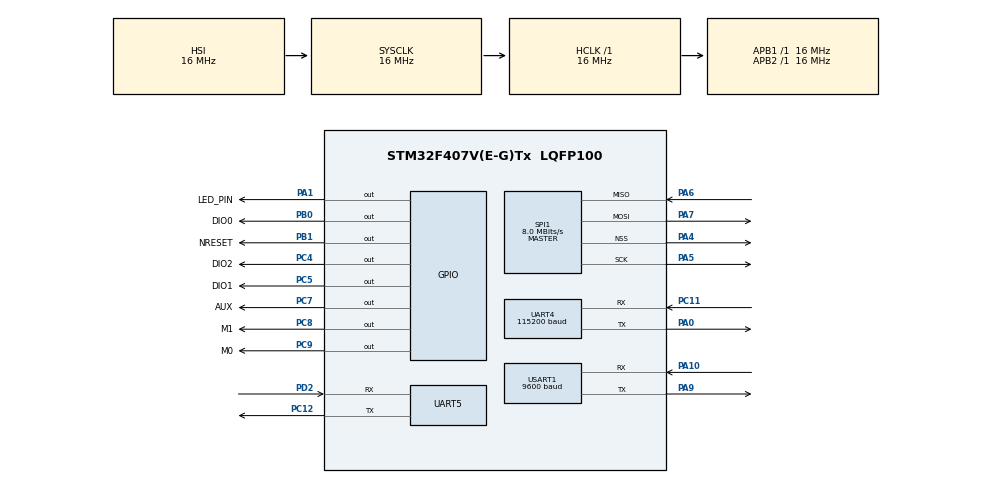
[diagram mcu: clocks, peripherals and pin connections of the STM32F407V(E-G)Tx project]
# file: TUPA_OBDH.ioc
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Mcu.Family=STM32F4
Mcu.Name=STM32F407V(E-G)Tx
Mcu.Package=LQFP100
NVIC.PriorityGroup=NVIC_PRIORITYGROUP_4
PA0-WKUP.Mode=Asynchronous
PA0-WKUP.Signal=UART4_TX
PA1.GPIO_Label=LED_PIN
PA1.Signal=GPIO_Output
PA10.Mode=Asynchronous
PA10.Signal=USART1_RX
PA13.Mode=Serial_Wire
PA13.Signal=SYS_JTMS-SWDIO
PA14.Mode=Serial_Wire
PA14.Signal=SYS_JTCK-SWCLK
PA4.Mode=NSS_Signal_Hard_Output
PA4.Signal=SPI1_NSS
PA5.Mode=Full_Duplex_Master
PA5.Signal=SPI1_SCK
PA6.Mode=Full_Duplex_Master
PA6.Signal=SPI1_MISO
PA7.Mode=Full_Duplex_Master
PA7.Signal=SPI1_MOSI
PA9.Mode=Asynchronous
PA9.Signal=USART1_TX
PB0.GPIO_Label=DIO0
PB0.Signal=GPIO_Output
PB1.GPIO_Label=NRESET
PB1.Signal=GPIO_Output
PC11.Mode=Asynchronous
PC11.Signal=UART4_RX
PC12.Mode=Asynchronous
PC12.Signal=UART5_TX
PC4.GPIO_Label=DIO2
PC4.Signal=GPIO_Output
PC5.GPIO_Label=DIO1
PC5.Signal=GPIO_Output
PC7.GPIO_Label=AUX
PC7.Signal=GPIO_Output
PC8.GPIO_Label=M1
PC8.Signal=GPIO_Output
PC9.GPIO_Label=M0
PC9.Signal=GPIO_Output
PD2.Mode=Asynchronous
PD2.Signal=UART5_RX
ProjectManager.HeapSize=0x200
ProjectManager.StackSize=0x400
ProjectManager.TargetToolchain=STM32CubeIDE
RCC.AHBFreq_Value=16000000
RCC.APB1Freq_Value=16000000
RCC.APB2Freq_Value=16000000
RCC.CortexFreq_Value=16000000
RCC.HSE_VALUE=25000000
RCC.HSI_VALUE=16000000
RCC.LSE_VALUE=32768
RCC.SYSCLKFreq_VALUE=16000000
RCC.VCOOutputFreq_Value=192000000
SPI1.CalculateBaudRate=8.0 MBits/s
SPI1.Direction=SPI_DIRECTION_2LINES
SPI1.Mode=SPI_MODE_MASTER
SPI1.VirtualNSS=VM_NSSHARD
SPI1.VirtualType=VM_MASTER
UART4.BaudRate=115200
UART4.VirtualMode=Asynchronous
UART5.VirtualMode=Asynchronous
USART1.BaudRate=9600
USART1.VirtualMode=VM_ASYNC
board=custom

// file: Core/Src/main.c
/* USER CODE BEGIN Header */
/**
  ******************************************************************************
  * @file           : main.c
  * @brief          : Main program body
  ******************************************************************************
  * @attention
  *
  * Copyright (c) 2024 STMicroelectronics.
  * All rights reserved.
  *
  * This software is licensed under terms that can be found in the LICENSE file
  * in the root directory of this software component.
  * If no LICENSE file comes with this software, it is provided AS-IS.
  *
  ******************************************************************************
  */
/* USER CODE END Header */
#include "main.h"

/* USER CODE BEGIN Includes */
#include <stdint.h>
#include <string.h>
/* USER CODE END Includes */

SPI_HandleTypeDef hspi1;

UART_HandleTypeDef huart4;
UART_HandleTypeDef huart5;
UART_HandleTypeDef huart1;

void SystemClock_Config(void);
static void MX_GPIO_Init(void);
static void MX_UART4_Init(void);
static void MX_UART5_Init(void);
static void MX_USART1_UART_Init(void);
static void MX_SPI1_Init(void);
/* USER CODE BEGIN PFP */
void receivedFromBase(void);
void receivedFromAOCS(void);
void receivedFromPayload(void);

void sendToAOCS(void);
void sendToBase(void);
/* USER CODE END PFP */

/* USER CODE BEGIN 0 */
uint16_t readValue;
uint8_t charToTransmit[1];
uint8_t receivedDataFromBase[5];
uint8_t antennaDrive = {0};
uint8_t attitudeSetpoint[2] = {0};
uint8_t receivedDataFromAOCS[22] = {0};
uint8_t receivedDataFromPayload[4] = {0,0,0,0};
uint8_t messageToBase[26] = {0};

uint8_t flag_AOCS = 0;
uint8_t flag_PAYLOAD = 0;
/* USER CODE END 0 */

int main(void)
{
  /* USER CODE BEGIN 1 */
//	charToTransmit[0] = 100;
  /* USER CODE END 1 */

  /* MCU Configuration--------------------------------------------------------*/

  /* Reset of all peripherals, Initializes the Flash interface and the Systick. */
  HAL_Init();

  /* Configure the system clock */
  SystemClock_Config();

  /* Initialize all configured peripherals */
  MX_GPIO_Init();
  MX_UART4_Init();
  MX_UART5_Init();
  MX_USART1_UART_Init();
  MX_SPI1_Init();

  /* Infinite loop */
  /* USER CODE BEGIN WHILE */
  while (1)
  {
//	  HAL_UART_Transmit(&huart4, charToTransmit, 1, 100);
//	  HAL_GPIO_TogglePin(LED_PIN_GPIO_Port, LED_PIN_Pin);
	  if (__HAL_UART_GET_FLAG(&huart1, UART_FLAG_RXNE) == SET) {
		  receivedFromBase();
		  sendToAOCS();
	  }
	  if (__HAL_UART_GET_FLAG(&huart4, UART_FLAG_RXNE) == SET) {
		  receivedFromAOCS();
		  flag_AOCS = 1;
	  }
	  if (__HAL_UART_GET_FLAG(&huart5, UART_FLAG_RXNE) == SET) {
		  receivedFromPayload();
		  flag_PAYLOAD = 1;
	  }
	  if(flag_AOCS == 1 && flag_PAYLOAD == 1){
		  sendToBase();
	  }

    /* USER CODE END WHILE */

  }
}

void SystemClock_Config(void)
{
  RCC_OscInitTypeDef RCC_OscInitStruct = {0};
  RCC_ClkInitTypeDef RCC_ClkInitStruct = {0};

  /** Configure the main internal regulator output voltage
  */
  __HAL_RCC_PWR_CLK_ENABLE();
  __HAL_PWR_VOLTAGESCALING_CONFIG(PWR_REGULATOR_VOLTAGE_SCALE1);

  /** Initializes the RCC Oscillators according to the specified parameters
  * in the RCC_OscInitTypeDef structure.
  */
  RCC_OscInitStruct.OscillatorType = RCC_OSCILLATORTYPE_HSI;
  RCC_OscInitStruct.HSIState = RCC_HSI_ON;
  RCC_OscInitStruct.HSICalibrationValue = RCC_HSICALIBRATION_DEFAULT;
  RCC_OscInitStruct.PLL.PLLState = RCC_PLL_NONE;
  if (HAL_RCC_OscConfig(&RCC_OscInitStruct) != HAL_OK)
  {
    Error_Handler();
  }

  /** Initializes the CPU, AHB and APB buses clocks
  */
  RCC_ClkInitStruct.ClockType = RCC_CLOCKTYPE_HCLK|RCC_CLOCKTYPE_SYSCLK
                              |RCC_CLOCKTYPE_PCLK1|RCC_CLOCKTYPE_PCLK2;
  RCC_ClkInitStruct.SYSCLKSource = RCC_SYSCLKSOURCE_HSI;
  RCC_ClkInitStruct.AHBCLKDivider = RCC_SYSCLK_DIV1;
  RCC_ClkInitStruct.APB1CLKDivider = RCC_HCLK_DIV1;
  RCC_ClkInitStruct.APB2CLKDivider = RCC_HCLK_DIV1;

  if (HAL_RCC_ClockConfig(&RCC_ClkInitStruct, FLASH_LATENCY_0) != HAL_OK)
  {
    Error_Handler();
  }
}

static void MX_SPI1_Init(void)
{

  /* SPI1 parameter configuration*/
  hspi1.Instance = SPI1;
  hspi1.Init.Mode = SPI_MODE_MASTER;
  hspi1.Init.Direction = SPI_DIRECTION_2LINES;
  hspi1.Init.DataSize = SPI_DATASIZE_8BIT;
  hspi1.Init.CLKPolarity = SPI_POLARITY_LOW;
  hspi1.Init.CLKPhase = SPI_PHASE_1EDGE;
  hspi1.Init.NSS = SPI_NSS_HARD_OUTPUT;
  hspi1.Init.BaudRatePrescaler = SPI_BAUDRATEPRESCALER_2;
  hspi1.Init.FirstBit = SPI_FIRSTBIT_MSB;
  hspi1.Init.TIMode = SPI_TIMODE_DISABLE;
  hspi1.Init.CRCCalculation = SPI_CRCCALCULATION_DISABLE;
  hspi1.Init.CRCPolynomial = 10;
  if (HAL_SPI_Init(&hspi1) != HAL_OK)
  {
    Error_Handler();
  }

}

static void MX_UART4_Init(void)
{

  huart4.Instance = UART4;
  huart4.Init.BaudRate = 115200;
  huart4.Init.WordLength = UART_WORDLENGTH_8B;
  huart4.Init.StopBits = UART_STOPBITS_1;
  huart4.Init.Parity = UART_PARITY_NONE;
  huart4.Init.Mode = UART_MODE_TX_RX;
  huart4.Init.HwFlowCtl = UART_HWCONTROL_NONE;
  huart4.Init.OverSampling = UART_OVERSAMPLING_16;
  if (HAL_UART_Init(&huart4) != HAL_OK)
  {
    Error_Handler();
  }

}

static void MX_UART5_Init(void)
{

  huart5.Instance = UART5;
  huart5.Init.BaudRate = 115200;
  huart5.Init.WordLength = UART_WORDLENGTH_8B;
  huart5.Init.StopBits = UART_STOPBITS_1;
  huart5.Init.Parity = UART_PARITY_NONE;
  huart5.Init.Mode = UART_MODE_TX_RX;
  huart5.Init.HwFlowCtl = UART_HWCONTROL_NONE;
  huart5.Init.OverSampling = UART_OVERSAMPLING_16;
  if (HAL_UART_Init(&huart5) != HAL_OK)
  {
    Error_Handler();
  }

}

static void MX_USART1_UART_Init(void)
{

  huart1.Instance = USART1;
  huart1.Init.BaudRate = 9600;
  huart1.Init.WordLength = UART_WORDLENGTH_8B;
  huart1.Init.StopBits = UART_STOPBITS_1;
  huart1.Init.Parity = UART_PARITY_NONE;
  huart1.Init.Mode = UART_MODE_TX_RX;
  huart1.Init.HwFlowCtl = UART_HWCONTROL_NONE;
  huart1.Init.OverSampling = UART_OVERSAMPLING_16;
  if (HAL_UART_Init(&huart1) != HAL_OK)
  {
    Error_Handler();
  }

}

static void MX_GPIO_Init(void)
{
  GPIO_InitTypeDef GPIO_InitStruct = {0};

  /* GPIO Ports Clock Enable */
  __HAL_RCC_GPIOA_CLK_ENABLE();
  __HAL_RCC_GPIOC_CLK_ENABLE();
  __HAL_RCC_GPIOB_CLK_ENABLE();
  __HAL_RCC_GPIOD_CLK_ENABLE();

  /*Configure GPIO pin Output Level */
  HAL_GPIO_WritePin(LED_PIN_GPIO_Port, LED_PIN_Pin, GPIO_PIN_RESET);

  /*Configure GPIO pin Output Level */
  HAL_GPIO_WritePin(GPIOC, DIO2_Pin|DIO1_Pin|AUX_Pin|M1_Pin
                          |M0_Pin, GPIO_PIN_RESET);

  /*Configure GPIO pin Output Level */
  HAL_GPIO_WritePin(GPIOB, DIO0_Pin|NRESET_Pin, GPIO_PIN_RESET);

  /*Configure GPIO pin : LED_PIN_Pin */
  GPIO_InitStruct.Pin = LED_PIN_Pin;
  GPIO_InitStruct.Mode = GPIO_MODE_OUTPUT_PP;
  GPIO_InitStruct.Pull = GPIO_NOPULL;
  GPIO_InitStruct.Speed = GPIO_SPEED_FREQ_LOW;
  HAL_GPIO_Init(LED_PIN_GPIO_Port, &GPIO_InitStruct);

  /*Configure GPIO pins : DIO2_Pin DIO1_Pin AUX_Pin M1_Pin
                           M0_Pin */
  GPIO_InitStruct.Pin = DIO2_Pin|DIO1_Pin|AUX_Pin|M1_Pin
                          |M0_Pin;
  GPIO_InitStruct.Mode = GPIO_MODE_OUTPUT_PP;
  GPIO_InitStruct.Pull = GPIO_NOPULL;
  GPIO_InitStruct.Speed = GPIO_SPEED_FREQ_LOW;
  HAL_GPIO_Init(GPIOC, &GPIO_InitStruct);

  /*Configure GPIO pins : DIO0_Pin NRESET_Pin */
  GPIO_InitStruct.Pin = DIO0_Pin|NRESET_Pin;
  GPIO_InitStruct.Mode = GPIO_MODE_OUTPUT_PP;
  GPIO_InitStruct.Pull = GPIO_NOPULL;
  GPIO_InitStruct.Speed = GPIO_SPEED_FREQ_LOW;
  HAL_GPIO_Init(GPIOB, &GPIO_InitStruct);

}

/* USER CODE BEGIN 4 */
void receivedFromBase(void){
	HAL_UART_Receive(&huart1, receivedDataFromBase, 5, 100);
	if(receivedDataFromBase[0] == 1){
		antennaDrive = receivedDataFromBase[1];
	}
	if(receivedDataFromBase[2] == 1){
		attitudeSetpoint[0] = receivedDataFromBase[3];
		attitudeSetpoint[1] = receivedDataFromBase[4];
	}
}

void sendToAOCS(void){
	uint8_t messageToAOCS[3] = {antennaDrive, attitudeSetpoint[0], attitudeSetpoint[1]};
	HAL_UART_Transmit(&huart4, receivedDataFromBase, 5, 100);
}

void receivedFromAOCS(void){
	HAL_UART_Receive(&huart4, receivedDataFromAOCS, 22, 100);
}

void receivedFromPayload(void){
	HAL_UART_Receive(&huart5, receivedDataFromPayload, 4, 100);
}

void sendToBase(void){
	memcpy(messageToBase, receivedDataFromPayload, sizeof(receivedDataFromPayload));
	memcpy(messageToBase + sizeof(receivedDataFromPayload), receivedDataFromAOCS, sizeof(receivedDataFromAOCS));
	HAL_UART_Transmit(&huart1, messageToBase, sizeof(messageToBase), 100);
}
/* USER CODE END 4 */

void Error_Handler(void)
{
  __disable_irq();
  while (1)
  {
  }
}
